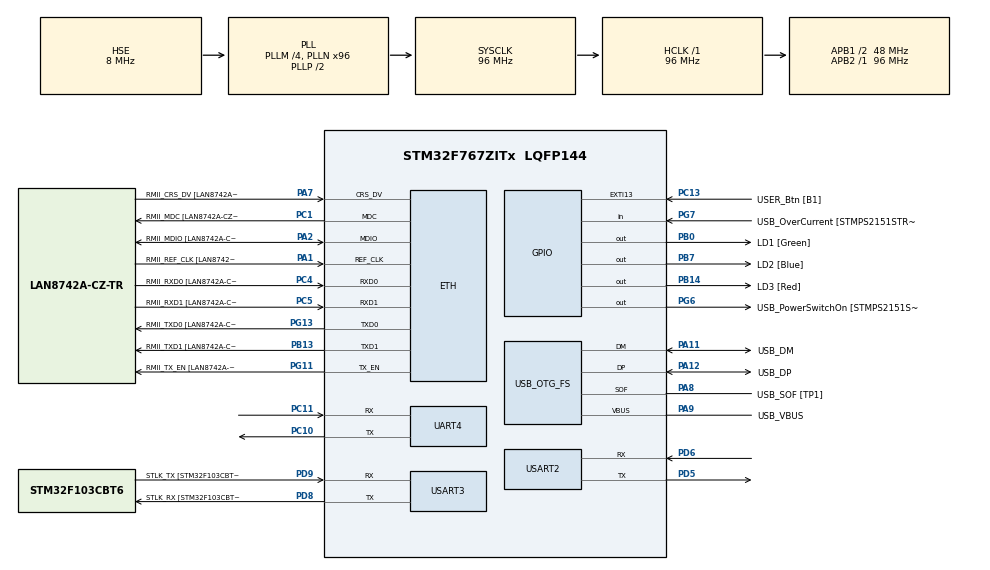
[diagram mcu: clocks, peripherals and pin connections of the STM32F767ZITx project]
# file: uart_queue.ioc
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ETH.MediaInterface=HAL_ETH_RMII_MODE
ETH.PHY_Name=LAN8742A_PHY_ADDRESS
ETH.PHY_Value=0
ETH.PhyAddress=0
FREERTOS.Queues01=uart2_queue,16,uint16_t,0,Dynamic,NULL,NULL
FREERTOS.Tasks01=defaultTask,24,128,StartDefaultTask,Default,NULL,Dynamic,NULL,NULL;uartReceiver,8,128,uartReveiverEntry,Default,NULL,Dynamic,NULL,NULL;uartPrinter,8,128,uartPrinterEntry,Default,NULL,Dynamic,NULL,NULL
FREERTOS.Timers01=sendTimer,sendTimerEntry,osTimerPeriodic,Default,NULL,Dynamic,NULL
FREERTOS.configTIMER_TASK_PRIORITY=8
FREERTOS.configUSE_NEWLIB_REENTRANT=1
Mcu.Family=STM32F7
Mcu.Name=STM32F767ZITx
Mcu.Package=LQFP144
NVIC.PriorityGroup=NVIC_PRIORITYGROUP_4
PA1.GPIO_Label=RMII_REF_CLK [LAN8742A-CZ-TR_REFCLK0]
PA1.Mode=RMII
PA1.Signal=ETH_REF_CLK
PA10.GPIO_Label=USB_ID
PA10.Signal=USB_OTG_FS_ID
PA11.GPIO_Label=USB_DM
PA11.Mode=Device_Only
PA11.Signal=USB_OTG_FS_DM
PA12.GPIO_Label=USB_DP
PA12.Mode=Device_Only
PA12.Signal=USB_OTG_FS_DP
PA13.GPIO_Label=TMS
PA13.Mode=Serial_Wire
PA13.Signal=SYS_JTMS-SWDIO
PA14.GPIO_Label=TCK
PA14.Mode=Serial_Wire
PA14.Signal=SYS_JTCK-SWCLK
PA2.GPIO_Label=RMII_MDIO [LAN8742A-CZ-TR_MDIO]
PA2.Mode=RMII
PA2.Signal=ETH_MDIO
PA7.GPIO_Label=RMII_CRS_DV [LAN8742A-CZ-TR_CRS_DV]
PA7.Mode=RMII
PA7.Signal=ETH_CRS_DV
PA8.GPIO_Label=USB_SOF [TP1]
PA8.Mode=Activate_SOF_FS
PA8.Signal=USB_OTG_FS_SOF
PA9.GPIO_Label=USB_VBUS
PA9.Mode=Activate_VBUS
PA9.Signal=USB_OTG_FS_VBUS
PB0.GPIO_Label=LD1 [Green]
PB0.Signal=GPIO_Output
PB13.GPIO_Label=RMII_TXD1 [LAN8742A-CZ-TR_TXD1]
PB13.Mode=RMII
PB13.Signal=ETH_TXD1
PB14.GPIO_Label=LD3 [Red]
PB14.Signal=GPIO_Output
PB3.GPIO_Label=SWO
PB3.Signal=SYS_JTDO-SWO
PB7.GPIO_Label=LD2 [Blue]
PB7.Signal=GPIO_Output
PC1.GPIO_Label=RMII_MDC [LAN8742A-CZ-TR_MDC]
PC1.Mode=RMII
PC1.Signal=ETH_MDC
PC10.Mode=Asynchronous
PC10.Signal=UART4_TX
PC11.Mode=Asynchronous
PC11.Signal=UART4_RX
PC13.GPIO_Label=USER_Btn [B1]
PC13.Signal=GPXTI13
PC14/OSC32_IN.Mode=LSE-External-Oscillator
PC14/OSC32_IN.Signal=RCC_OSC32_IN
PC15/OSC32_OUT.Mode=LSE-External-Oscillator
PC15/OSC32_OUT.Signal=RCC_OSC32_OUT
PC4.GPIO_Label=RMII_RXD0 [LAN8742A-CZ-TR_RXD0]
PC4.Mode=RMII
PC4.Signal=ETH_RXD0
PC5.GPIO_Label=RMII_RXD1 [LAN8742A-CZ-TR_RXD1]
PC5.Mode=RMII
PC5.Signal=ETH_RXD1
PD5.Mode=Asynchronous
PD5.Signal=USART2_TX
PD6.Mode=Asynchronous
PD6.Signal=USART2_RX
PD8.GPIO_Label=STLK_RX [STM32F103CBT6_PA3]
PD8.Mode=Asynchronous
PD8.Signal=USART3_TX
PD9.GPIO_Label=STLK_TX [STM32F103CBT6_PA2]
PD9.Mode=Asynchronous
PD9.Signal=USART3_RX
PG11.GPIO_Label=RMII_TX_EN [LAN8742A-CZ-TR_TXEN]
PG11.Mode=RMII
PG11.Signal=ETH_TX_EN
PG13.GPIO_Label=RMII_TXD0 [LAN8742A-CZ-TR_TXD0]
PG13.Mode=RMII
PG13.Signal=ETH_TXD0
PG6.GPIO_Label=USB_PowerSwitchOn [STMPS2151STR_EN]
PG6.Signal=GPIO_Output
PG7.GPIO_Label=USB_OverCurrent [STMPS2151STR_FAULT]
PG7.Signal=GPIO_Input
PH0/OSC_IN.GPIO_Label=MCO [STM32F103CBT6_PA8]
PH0/OSC_IN.Mode=HSE-External-Clock-Source
PH0/OSC_IN.Signal=RCC_OSC_IN
PH1/OSC_OUT.Mode=HSE-External-Clock-Source
PH1/OSC_OUT.Signal=RCC_OSC_OUT
ProjectManager.HeapSize=0x200
ProjectManager.StackSize=0x400
ProjectManager.TargetToolchain=STM32CubeIDE
RCC.48MHZClocksFreq_Value=24000000
RCC.AHBFreq_Value=96000000
RCC.APB1CLKDivider=RCC_HCLK_DIV2
RCC.APB1Freq_Value=48000000
RCC.APB1TimFreq_Value=96000000
RCC.APB2Freq_Value=96000000
RCC.APB2TimFreq_Value=96000000
RCC.CortexFreq_Value=96000000
RCC.HCLKFreq_Value=96000000
RCC.HSE_VALUE=8000000
RCC.HSI_VALUE=16000000
RCC.PLLM=4
RCC.PLLMUL=RCC_PLL_MUL9
RCC.PLLN=96
RCC.PLLQ=4
RCC.PRESCALERUSB=RCC_USBCLKSOURCE_PLL_DIV1_5
RCC.SYSCLKFreq_VALUE=96000000
RCC.SYSCLKSource=RCC_SYSCLKSOURCE_PLLCLK
RCC.SYSCLKSourceVirtual=RCC_SYSCLKSOURCE_PLLCLK
RCC.USBFreq_Value=48000000
RCC.VCOOutputFreq_Value=192000000
USART2.VirtualMode-Asynchronous=VM_ASYNC
USART3.VirtualMode-Asynchronous=VM_ASYNC
USB_OTG_FS.VirtualMode=Device_Only
VP_FREERTOS_VS_CMSIS_V2.Mode=CMSIS_V2
board=NUCLEO-F767ZI

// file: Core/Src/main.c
/* USER CODE BEGIN Header */
/**
  ******************************************************************************
  * @file           : main.c
  * @brief          : Main program body
  ******************************************************************************
  * @attention
  *
  * Copyright (c) 2023 STMicroelectronics.
  * All rights reserved.
  *
  * This software is licensed under terms that can be found in the LICENSE file
  * in the root directory of this software component.
  * If no LICENSE file comes with this software, it is provided AS-IS.
  *
  ******************************************************************************
  */
/* USER CODE END Header */
#include "main.h"
#include "string.h"
#include "cmsis_os.h"

/* USER CODE BEGIN Includes */
#include <SEGGER_SYSVIEW.h>
#include <FreeRTOS.h>
#include <task.h>
#include <queue.h>
#include <timers.h>
/* USER CODE END Includes */

#if defined ( __ICCARM__ ) /*!< IAR Compiler */
#pragma location=0x2007c000
ETH_DMADescTypeDef  DMARxDscrTab[ETH_RX_DESC_CNT]; /* Ethernet Rx DMA Descriptors */
#pragma location=0x2007c0a0
ETH_DMADescTypeDef  DMATxDscrTab[ETH_TX_DESC_CNT]; /* Ethernet Tx DMA Descriptors */

#elif defined ( __CC_ARM )  /* MDK ARM Compiler */

__attribute__((at(0x2007c000))) ETH_DMADescTypeDef  DMARxDscrTab[ETH_RX_DESC_CNT]; /* Ethernet Rx DMA Descriptors */
__attribute__((at(0x2007c0a0))) ETH_DMADescTypeDef  DMATxDscrTab[ETH_TX_DESC_CNT]; /* Ethernet Tx DMA Descriptors */

#elif defined ( __GNUC__ ) /* GNU Compiler */

ETH_DMADescTypeDef DMARxDscrTab[ETH_RX_DESC_CNT] __attribute__((section(".RxDecripSection"))); /* Ethernet Rx DMA Descriptors */
ETH_DMADescTypeDef DMATxDscrTab[ETH_TX_DESC_CNT] __attribute__((section(".TxDecripSection")));   /* Ethernet Tx DMA Descriptors */
#endif

ETH_TxPacketConfig TxConfig;

ETH_HandleTypeDef heth;

UART_HandleTypeDef huart4;
UART_HandleTypeDef huart2;
UART_HandleTypeDef huart3;

PCD_HandleTypeDef hpcd_USB_OTG_FS;

/* Definitions for defaultTask */
osThreadId_t defaultTaskHandle;
const osThreadAttr_t defaultTask_attributes = {
  .name = "defaultTask",
  .stack_size = 128 * 4,
  .priority = (osPriority_t) osPriorityNormal,
};
/* Definitions for uartReceiver */
osThreadId_t uartReceiverHandle;
const osThreadAttr_t uartReceiver_attributes = {
  .name = "uartReceiver",
  .stack_size = 128 * 4,
  .priority = (osPriority_t) osPriorityLow,
};
/* Definitions for uartPrinter */
osThreadId_t uartPrinterHandle;
const osThreadAttr_t uartPrinter_attributes = {
  .name = "uartPrinter",
  .stack_size = 128 * 4,
  .priority = (osPriority_t) osPriorityLow,
};
/* Definitions for uart2_queue */
osMessageQueueId_t uart2_queueHandle;
const osMessageQueueAttr_t uart2_queue_attributes = {
  .name = "uart2_queue"
};
/* Definitions for sendTimer */
osTimerId_t sendTimerHandle;
const osTimerAttr_t sendTimer_attributes = {
  .name = "sendTimer"
};

void SystemClock_Config(void);
static void MX_GPIO_Init(void);
static void MX_ETH_Init(void);
static void MX_USART3_UART_Init(void);
static void MX_USB_OTG_FS_PCD_Init(void);
static void MX_UART4_Init(void);
static void MX_USART2_UART_Init(void);
void StartDefaultTask(void *argument);
void uartReveiverEntry(void *argument);
void uartPrinterEntry(void *argument);
void sendTimerEntry(void *argument);

int main(void)
{

  /* MCU Configuration--------------------------------------------------------*/

  /* Reset of all peripherals, Initializes the Flash interface and the Systick. */
  HAL_Init();

  /* USER CODE BEGIN Init */
  SEGGER_SYSVIEW_Conf();
  /* USER CODE END Init */

  /* Configure the system clock */
  SystemClock_Config();

  /* Initialize all configured peripherals */
  MX_GPIO_Init();
  MX_ETH_Init();
  MX_USART3_UART_Init();
  MX_USB_OTG_FS_PCD_Init();
  MX_UART4_Init();
  MX_USART2_UART_Init();

  /* Init scheduler */
  osKernelInitialize();

  /* Create the timer(s) */
  /* creation of sendTimer */
  sendTimerHandle = osTimerNew(sendTimerEntry, osTimerPeriodic, NULL, &sendTimer_attributes);

  /* USER CODE BEGIN RTOS_TIMERS */
  /* start timers, add new ones, ... */
  osTimerStart(sendTimerHandle, 1000 / portTICK_PERIOD_MS);
  //xTimerStart(sendTimerHandle, 1000 / portTICK_PERIOD_MS);
  /* USER CODE END RTOS_TIMERS */

  /* Create the queue(s) */
  /* creation of uart2_queue */
  uart2_queueHandle = osMessageQueueNew (16, sizeof(uint16_t), &uart2_queue_attributes);

  /* Create the thread(s) */
  /* creation of defaultTask */
  defaultTaskHandle = osThreadNew(StartDefaultTask, NULL, &defaultTask_attributes);

  /* creation of uartReceiver */
  uartReceiverHandle = osThreadNew(uartReveiverEntry, NULL, &uartReceiver_attributes);

  /* creation of uartPrinter */
  uartPrinterHandle = osThreadNew(uartPrinterEntry, NULL, &uartPrinter_attributes);

  /* Start scheduler */
  osKernelStart();

  /* We should never get here as control is now taken by the scheduler */

  /* Infinite loop */
  while (1)
  {

  }
}

void SystemClock_Config(void)
{
  RCC_OscInitTypeDef RCC_OscInitStruct = {0};
  RCC_ClkInitTypeDef RCC_ClkInitStruct = {0};

  /** Configure LSE Drive Capability
  */
  HAL_PWR_EnableBkUpAccess();

  /** Configure the main internal regulator output voltage
  */
  __HAL_RCC_PWR_CLK_ENABLE();
  __HAL_PWR_VOLTAGESCALING_CONFIG(PWR_REGULATOR_VOLTAGE_SCALE3);

  /** Initializes the RCC Oscillators according to the specified parameters
  * in the RCC_OscInitTypeDef structure.
  */
  RCC_OscInitStruct.OscillatorType = RCC_OSCILLATORTYPE_HSE;
  RCC_OscInitStruct.HSEState = RCC_HSE_BYPASS;
  RCC_OscInitStruct.PLL.PLLState = RCC_PLL_ON;
  RCC_OscInitStruct.PLL.PLLSource = RCC_PLLSOURCE_HSE;
  RCC_OscInitStruct.PLL.PLLM = 4;
  RCC_OscInitStruct.PLL.PLLN = 96;
  RCC_OscInitStruct.PLL.PLLP = RCC_PLLP_DIV2;
  RCC_OscInitStruct.PLL.PLLQ = 4;
  RCC_OscInitStruct.PLL.PLLR = 2;
  if (HAL_RCC_OscConfig(&RCC_OscInitStruct) != HAL_OK)
  {
    Error_Handler();
  }

  /** Activate the Over-Drive mode
  */
  if (HAL_PWREx_EnableOverDrive() != HAL_OK)
  {
    Error_Handler();
  }

  /** Initializes the CPU, AHB and APB buses clocks
  */
  RCC_ClkInitStruct.ClockType = RCC_CLOCKTYPE_HCLK|RCC_CLOCKTYPE_SYSCLK
                              |RCC_CLOCKTYPE_PCLK1|RCC_CLOCKTYPE_PCLK2;
  RCC_ClkInitStruct.SYSCLKSource = RCC_SYSCLKSOURCE_PLLCLK;
  RCC_ClkInitStruct.AHBCLKDivider = RCC_SYSCLK_DIV1;
  RCC_ClkInitStruct.APB1CLKDivider = RCC_HCLK_DIV2;
  RCC_ClkInitStruct.APB2CLKDivider = RCC_HCLK_DIV1;

  if (HAL_RCC_ClockConfig(&RCC_ClkInitStruct, FLASH_LATENCY_3) != HAL_OK)
  {
    Error_Handler();
  }
}

static void MX_ETH_Init(void)
{

   static uint8_t MACAddr[6];

  heth.Instance = ETH;
  MACAddr[0] = 0x00;
  MACAddr[1] = 0x80;
  MACAddr[2] = 0xE1;
  MACAddr[3] = 0x00;
  MACAddr[4] = 0x00;
  MACAddr[5] = 0x00;
  heth.Init.MACAddr = &MACAddr[0];
  heth.Init.MediaInterface = HAL_ETH_RMII_MODE;
  heth.Init.TxDesc = DMATxDscrTab;
  heth.Init.RxDesc = DMARxDscrTab;
  heth.Init.RxBuffLen = 1524;

  if (HAL_ETH_Init(&heth) != HAL_OK)
  {
    Error_Handler();
  }

  memset(&TxConfig, 0 , sizeof(ETH_TxPacketConfig));
  TxConfig.Attributes = ETH_TX_PACKETS_FEATURES_CSUM | ETH_TX_PACKETS_FEATURES_CRCPAD;
  TxConfig.ChecksumCtrl = ETH_CHECKSUM_IPHDR_PAYLOAD_INSERT_PHDR_CALC;
  TxConfig.CRCPadCtrl = ETH_CRC_PAD_INSERT;

}

static void MX_UART4_Init(void)
{

  huart4.Instance = UART4;
  huart4.Init.BaudRate = 115200;
  huart4.Init.WordLength = UART_WORDLENGTH_8B;
  huart4.Init.StopBits = UART_STOPBITS_1;
  huart4.Init.Parity = UART_PARITY_NONE;
  huart4.Init.Mode = UART_MODE_TX_RX;
  huart4.Init.HwFlowCtl = UART_HWCONTROL_NONE;
  huart4.Init.OverSampling = UART_OVERSAMPLING_16;
  huart4.Init.OneBitSampling = UART_ONE_BIT_SAMPLE_DISABLE;
  huart4.AdvancedInit.AdvFeatureInit = UART_ADVFEATURE_NO_INIT;
  if (HAL_UART_Init(&huart4) != HAL_OK)
  {
    Error_Handler();
  }

}

static void MX_USART2_UART_Init(void)
{

  huart2.Instance = USART2;
  huart2.Init.BaudRate = 115200;
  huart2.Init.WordLength = UART_WORDLENGTH_8B;
  huart2.Init.StopBits = UART_STOPBITS_1;
  huart2.Init.Parity = UART_PARITY_NONE;
  huart2.Init.Mode = UART_MODE_TX_RX;
  huart2.Init.HwFlowCtl = UART_HWCONTROL_NONE;
  huart2.Init.OverSampling = UART_OVERSAMPLING_16;
  huart2.Init.OneBitSampling = UART_ONE_BIT_SAMPLE_DISABLE;
  huart2.AdvancedInit.AdvFeatureInit = UART_ADVFEATURE_NO_INIT;
  if (HAL_UART_Init(&huart2) != HAL_OK)
  {
    Error_Handler();
  }

}

static void MX_USART3_UART_Init(void)
{

  huart3.Instance = USART3;
  huart3.Init.BaudRate = 115200;
  huart3.Init.WordLength = UART_WORDLENGTH_8B;
  huart3.Init.StopBits = UART_STOPBITS_1;
  huart3.Init.Parity = UART_PARITY_NONE;
  huart3.Init.Mode = UART_MODE_TX_RX;
  huart3.Init.HwFlowCtl = UART_HWCONTROL_NONE;
  huart3.Init.OverSampling = UART_OVERSAMPLING_16;
  huart3.Init.OneBitSampling = UART_ONE_BIT_SAMPLE_DISABLE;
  huart3.AdvancedInit.AdvFeatureInit = UART_ADVFEATURE_NO_INIT;
  if (HAL_UART_Init(&huart3) != HAL_OK)
  {
    Error_Handler();
  }

}

static void MX_USB_OTG_FS_PCD_Init(void)
{

  hpcd_USB_OTG_FS.Instance = USB_OTG_FS;
  hpcd_USB_OTG_FS.Init.dev_endpoints = 6;
  hpcd_USB_OTG_FS.Init.speed = PCD_SPEED_FULL;
  hpcd_USB_OTG_FS.Init.dma_enable = DISABLE;
  hpcd_USB_OTG_FS.Init.phy_itface = PCD_PHY_EMBEDDED;
  hpcd_USB_OTG_FS.Init.Sof_enable = ENABLE;
  hpcd_USB_OTG_FS.Init.low_power_enable = DISABLE;
  hpcd_USB_OTG_FS.Init.lpm_enable = DISABLE;
  hpcd_USB_OTG_FS.Init.vbus_sensing_enable = ENABLE;
  hpcd_USB_OTG_FS.Init.use_dedicated_ep1 = DISABLE;
  if (HAL_PCD_Init(&hpcd_USB_OTG_FS) != HAL_OK)
  {
    Error_Handler();
  }

}

static void MX_GPIO_Init(void)
{
  GPIO_InitTypeDef GPIO_InitStruct = {0};

  /* GPIO Ports Clock Enable */
  __HAL_RCC_GPIOC_CLK_ENABLE();
  __HAL_RCC_GPIOH_CLK_ENABLE();
  __HAL_RCC_GPIOA_CLK_ENABLE();
  __HAL_RCC_GPIOB_CLK_ENABLE();
  __HAL_RCC_GPIOD_CLK_ENABLE();
  __HAL_RCC_GPIOG_CLK_ENABLE();

  /*Configure GPIO pin Output Level */
  HAL_GPIO_WritePin(GPIOB, LD1_Pin|LD3_Pin|LD2_Pin, GPIO_PIN_RESET);

  /*Configure GPIO pin Output Level */
  HAL_GPIO_WritePin(USB_PowerSwitchOn_GPIO_Port, USB_PowerSwitchOn_Pin, GPIO_PIN_RESET);

  /*Configure GPIO pin : USER_Btn_Pin */
  GPIO_InitStruct.Pin = USER_Btn_Pin;
  GPIO_InitStruct.Mode = GPIO_MODE_IT_RISING;
  GPIO_InitStruct.Pull = GPIO_NOPULL;
  HAL_GPIO_Init(USER_Btn_GPIO_Port, &GPIO_InitStruct);

  /*Configure GPIO pins : LD1_Pin LD3_Pin LD2_Pin */
  GPIO_InitStruct.Pin = LD1_Pin|LD3_Pin|LD2_Pin;
  GPIO_InitStruct.Mode = GPIO_MODE_OUTPUT_PP;
  GPIO_InitStruct.Pull = GPIO_NOPULL;
  GPIO_InitStruct.Speed = GPIO_SPEED_FREQ_LOW;
  HAL_GPIO_Init(GPIOB, &GPIO_InitStruct);

  /*Configure GPIO pin : USB_PowerSwitchOn_Pin */
  GPIO_InitStruct.Pin = USB_PowerSwitchOn_Pin;
  GPIO_InitStruct.Mode = GPIO_MODE_OUTPUT_PP;
  GPIO_InitStruct.Pull = GPIO_NOPULL;
  GPIO_InitStruct.Speed = GPIO_SPEED_FREQ_LOW;
  HAL_GPIO_Init(USB_PowerSwitchOn_GPIO_Port, &GPIO_InitStruct);

  /*Configure GPIO pin : USB_OverCurrent_Pin */
  GPIO_InitStruct.Pin = USB_OverCurrent_Pin;
  GPIO_InitStruct.Mode = GPIO_MODE_INPUT;
  GPIO_InitStruct.Pull = GPIO_NOPULL;
  HAL_GPIO_Init(USB_OverCurrent_GPIO_Port, &GPIO_InitStruct);

}

/* USER CODE BEGIN 4 */
static const uint8_t uart4Msg[1] = "d";
/* USER CODE END 4 */

void StartDefaultTask(void *argument)
{
  for(;;)
  {
    osDelay(1);
  }
}

void uartReveiverEntry(void *argument)
{
  /* USER CODE BEGIN uartReveiverEntry */
  uint8_t nextByte;
  /* Infinite loop */
  for(;;)
  {
	//HAL_UART_Receive(&huart2, &nextbyte, 1, 100);
    while(!(USART2->ISR & USART_ISR_RXNE_Msk));
    nextByte = USART2->RDR;
    SEGGER_SYSVIEW_PrintfHost("received");
    //SEGGER_SYSVIEW_PrintfHost(&nextByte);
    xQueueSend(uart2_queueHandle, &nextByte,0);

  }
  /* USER CODE END uartReveiverEntry */
}

void uartPrinterEntry(void *argument)
{
  /* USER CODE BEGIN uartPrinterEntry */
  /* Infinite loop */
  char byteFromQueue;
  for(;;)
  {
    osDelay(1);
    //SEGGER_SYSVIEW_PrintfHost("printer");
    xQueueReceive(uart2_queueHandle, &byteFromQueue, portMAX_DELAY);
    SEGGER_SYSVIEW_PrintfHost(&byteFromQueue);
  }
  /* USER CODE END uartPrinterEntry */
}

/* sendTimerEntry function */
void sendTimerEntry(void *argument)
{
  /* USER CODE BEGIN sendTimerEntry */

  SEGGER_SYSVIEW_PrintfHost("timer sender");
  HAL_UART_Transmit(&huart4, uart4Msg, sizeof(uart4Msg), 100);
  /* USER CODE END sendTimerEntry */
}

void Error_Handler(void)
{
  __disable_irq();
  while (1)
  {
  }
}
